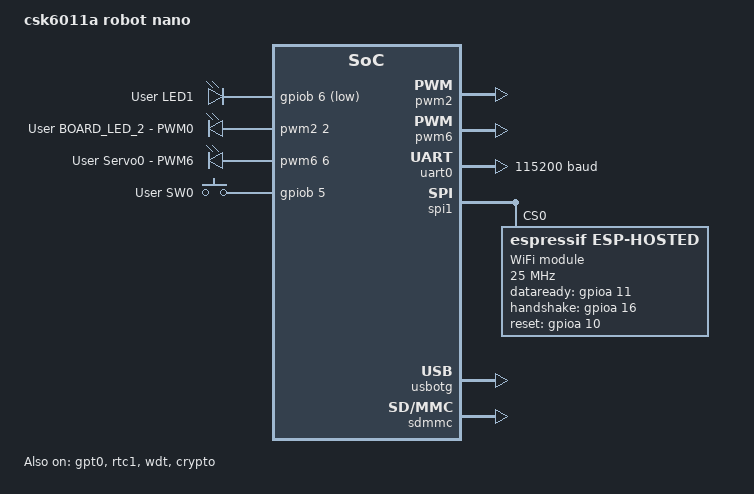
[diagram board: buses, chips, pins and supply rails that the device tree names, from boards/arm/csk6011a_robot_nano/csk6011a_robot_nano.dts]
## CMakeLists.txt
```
# SPDX-License-Identifier: Apache-2.0

cmake_minimum_required(VERSION 3.20.0)

# 指定使用app目录下的自定义boards
set(BOARD_ROOT ${CMAKE_CURRENT_LIST_DIR})

find_package(Zephyr REQUIRED HINTS $ENV{ZEPHYR_BASE})
project(app)

# 包含所有使用到的头文件路径
target_include_directories(app PRIVATE src)
target_include_directories(app PRIVATE src/app)
target_include_directories(app PRIVATE src/test)
target_include_directories(app PRIVATE src/common)
target_include_directories(app PRIVATE src/core)
target_include_directories(app PRIVATE src/driver)

# 包含所有使用到的源代码路径
aux_source_directory(./src/app DIR_APP_SRCS)
aux_source_directory(./src/test DIR_TEST_SRCS)
aux_source_directory(./src/common DIR_COMMON_SRCS)
aux_source_directory(./src/core DIR_CORE_SRCS)
aux_source_directory(./src/driver DIR_DRIVER_SRCS)

# 包含所有被编译的源代码文件
target_sources(app PRIVATE src/main.c 
                ${DIR_APP_SRCS} 
                ${DIR_TEST_SRCS} 
                ${DIR_COMMON_SRCS} 
                ${DIR_CORE_SRCS} 
                ${DIR_DRIVER_SRCS} 
                )
```

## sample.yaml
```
sample:
  name: Button Sample
tests:
  sample.basic.button:
    tags: button gpio
    filter: dt_enabled_alias_with_parent_compat("sw0", "gpio-keys")
    depends_on: gpio
    harness: button
```

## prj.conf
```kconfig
# 使能内核支持GPIO
CONFIG_GPIO=y

# 使能内核支持PWM
CONFIG_PWM=y

# Shell 组件配置
CONFIG_SHELL=y

# SYSTEM WORKQUEU线程栈
CONFIG_SYSTEM_WORKQUEUE_STACK_SIZE=2048
# 系统堆，分配内存，可根据实际使用配置
CONFIG_HEAP_MEM_POOL_SIZE=35840
CONFIG_MAIN_STACK_SIZE=4096
CONFIG_INIT_STACKS=y

# 启用flash
CONFIG_FLASH=y
CONFIG_FLASH_MAP=y
CONFIG_FLASH_PAGE_LAYOUT=y
# 启动文件系统
CONFIG_FILE_SYSTEM=y
CONFIG_FILE_SYSTEM_LITTLEFS=y

# 打开WiFi驱动配置
CONFIG_WIFI=y
CONFIG_CSK_WIFI_STATION=y
CONFIG_NET_L2_ETHERNET=y

# 网络线程栈配置
CONFIG_NET_RX_STACK_SIZE=1024
CONFIG_NET_TX_STACK_SIZE=2048
# 网络的内存池配置
CONFIG_NET_PKT_RX_COUNT=16
CONFIG_NET_PKT_TX_COUNT=16
CONFIG_NET_BUF_RX_COUNT=64
CONFIG_NET_BUF_TX_COUNT=64
CONFIG_NET_CONTEXT_NET_PKT_POOL=y

# 引用名为newlib的libc标准库
CONFIG_NEWLIB_LIBC=y

# 网络通信相关配置，由于网络功能暂时有问题，暂时关闭
CONFIG_NETWORKING=y
CONFIG_NET_DHCPV4=y
CONFIG_NET_IPV4=y
# CONFIG_NET_IPV6=y
CONFIG_NET_SOCKETS=y
CONFIG_TEST_RANDOM_GENERATOR=y
CONFIG_NET_SOCKETS_POSIX_NAMES=y
CONFIG_NET_CONFIG_SETTINGS=y
CONFIG_NET_TCP=y
# CONFIG_NET_CONFIG_MY_IPV4_ADDR="192.0.2.1"
# CONFIG_NET_CONFIG_PEER_IPV4_ADDR="192.0.2.2"
# CONFIG_NET_CONFIG_MY_IPV6_ADDR="2001:db8::1"
# CONFIG_NET_CONFIG_PEER_IPV6_ADDR="2001:db8::2"

# 网络管理配置
# CONFIG_NET_MGMT=y
# CONFIG_NET_MGMT_EVENT=y
# CONFIG_NET_MGMT_EVENT_STACK_SIZE=4096

# 打开LOG配置
# CONFIG_LOG=y
# CONFIG_WIFI_LOG_LEVEL_DBG=y
```

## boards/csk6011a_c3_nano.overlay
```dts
/*
 * Copyright (c) 2020 Circuit Dojo LLC
 *
 * SPDX-License-Identifier: Apache-2.0
 */

/delete-node/ &storage_partition;

/ {
	fstab {
		compatible = "zephyr,fstab";
		lfs1: lfs1 {
			compatible = "zephyr,fstab,littlefs";
			mount-point = "/lfs1";
			partition = <&storage_partition>;
			automount ;
			no-format;
			read-size = <16>;
			prog-size = <16>;
			cache-size = <64>;
			lookahead-size = <32>;
			block-cycles = <512>;
		};
	};

};

 
&flash0 {
	partitions {
		compatible = "fixed-partitions";
		#address-cells = <1>;
		#size-cells = <1>;

		/* storage: 1MB for storage */
		storage_partition: partition@700000 {
			label = "storage";
			reg = <0x700000 0x100000>;
		};

	};
};
```

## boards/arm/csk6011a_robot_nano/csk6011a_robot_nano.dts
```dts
/* SPDX-License-Identifier: Apache-2.0 */

/dts-v1/;
#include <csk/csk6011a.dtsi>
#include <dt-bindings/pwm/pwm.h>
#include <dt-bindings/gpio/gpio.h>
#include "csk6011a_robot_nano_pinctrl.dtsi"

/ {
        model = "csk6011a robot nano";
        compatible = "csk,csk6011a_robot_nano";
        aliases {
                led0 = &green_led;
                sw0 = &user_button_0;
                pwm-led0 = &green_pwm_led;
                pwm-servo0 = &nano_pwm_servo;
                i2c-0 = &i2c0;
                i2c-1 = &i2c1;
        };

        chosen {
                zephyr,console = &uart0;
                zephyr,shell-uart = &uart0;
                zephyr,sram = &sram0;
                zephyr,itcm = &itcm0;
                zephyr,dtcm = &dtcm0;
                zephyr,flash = &flash0;
                zephyr,flash_controller = &flash;
                zephyr,entropy = &trng;
                /* other chosen settings  for your hardware */
        };

        leds {
                compatible = "gpio-leds";
                green_led: led1 {
                        gpios = <&gpiob 6 GPIO_ACTIVE_LOW>;
                        label = "User LED1";
                };
        };

        pwmleds {
                compatible = "pwm-leds";
                green_pwm_led: green_pwm_led {
                        /* PWM LED will conflict with User LED1 since using the same gpio pin */
                        pwms = <&pwm2 2 PWM_MSEC(20) PWM_POLARITY_NORMAL>;
                        label = "User BOARD_LED_2 - PWM0";
                };

        };

        pwmservo0 {
                compatible = "pwm-leds";
                nano_pwm_servo: nano_pwm_servo {
                        pwms = <&pwm6 6 PWM_MSEC(20) PWM_POLARITY_NORMAL>;
                        label = "User Servo0 - PWM6";
                };

        };

        gpio_keys {
                compatible = "gpio-keys";
                user_button_0: button_0 {
                        label = "User SW0";
                        gpios = <&gpiob 5 0>;
                };
        };

        /*
         * Your board-specific hardware: buttons, LEDs, sensors, etc.
         */
};

&gpt0 {
        status = "okay";

        pwm2: pwm2 {
                clock-prescaler = <128>;
                status = "okay";
        };

        pwm6: pwm6 {
                clock-prescaler = <128>;
                status = "okay";
        };

};

&pwm2 {
        pinctrl-0 = <&pinctrl_pwm2_default>;
        pinctrl-names = "default";
        status = "okay";
};

&pwm6 {
        pinctrl-0 = <&pinctrl_pwm6_default>;
        pinctrl-names = "default";
        status = "okay";
};

&gpioa {
        status = "okay";
};

&gpiob {
        status = "okay";
};

&uart0 {
        pinctrl-0 = <&pinctrl_uart0_rx_default &pinctrl_uart0_tx_default>;
        pinctrl-names = "default";
        current-speed = <115200>;
        status = "okay";
};

&uart1 {
        status = "disabled";
};

&uart2 {
        status = "disabled";
};

&spi0 {
        status = "disabled";
};

&spi1 {
        pinctrl-0 = <&pinctrl_spi1_sclk_default &pinctrl_spi1_mosi_default &pinctrl_spi1_miso_default &pinctrl_spi1_cs_default>;
        pinctrl-names = "default";
        status = "okay";
	wifi_module: esp32c3@0 {
                compatible = "espressif,esp-hosted";
                label = "WiFi module";
		spi-max-frequency = <25000000>;
		reg = <0>;
                dataready-gpios = <&gpioa 11 0>;
                handshake-gpios = <&gpioa 16 0>;
                reset-gpios = <&gpioa 10 0>;
                status = "okay";
        };
};

&i2c0 {
        status = "disabled";
};

&i2c1 {
        status = "disabled";
};

&mailbox0 {
        status = "okay";
};

&dma0 {
        dma-channels = <6>;
        status = "okay";
};

&rtc1 {
        status = "okay";
};

&flash0 {
        /*
         * For more information, see:
         * http: //docs.zephyrproject.org/latest/guides/dts/index.html#flash-partitions
         */
        reg = <0x18000000 DT_SIZE_M(16)>;
        write-block-size = <4>;
        erase-block-size = <4096>;
        partitions {
                compatible = "fixed-partitions";
                #address-cells = <1>;
                #size-cells = <1>;

                /* wifi driver private storage: 8Kb */
                wifi_driver_storage: partition@6ee000 {
                        label = "wifi_driver_storage";
                        reg = <0x6ee000 0x2000>;
                };

                /* wifi_nvs_storage: 20Kb */
                wifi_nvs_storage: partition@6F0000 {
                        label = "wifi_nvs_storage";
                        reg = <0x6F0000 0x10000>;
                };

                /* storage: 6.625MB for storage */
                storage_partition: partition@700000 {
                        label = "storage";
                        reg = <0x700000 0x100000>;
                };


        };
};

&psram0 {
        reg = <0x30000000 DT_SIZE_M(8)>;
        #address-cells = <1>;
        #size-cells = <1>;

        /*psram for cp core slot: 6MB */
        psram_cp: psram_cp@30000000 {
                compatible = "listenai,csk6-psram-partition";
                reg = <0x30000000 0x600000>;
                status = "okay";
        };

        /*psram for ap core slot: 1MB */
        psram_ap: psram_ap@30600000 {
                compatible = "zephyr,memory-region",
                             "listenai,csk6-psram-partition";
                reg = <0x30600000 0x100000>;
                status = "okay";
                zephyr,memory-region = "PSRAMAP";
        };

        /*psram for ap share with cp slot: 512KB */
        psram_share: psram_share@30700000 {
                compatible = "listenai,csk6-psram-partition";
                reg = <0x30700000 0x80000>;
                status = "okay";
        };
};

zephyr_udc0: &usbotg {
        status = "okay";
        num-bidir-endpoints = <6>;
        num-in-endpoints = <6>;
        num-out-endpoints = <6>;
};

&wdt {
        status = "okay";
};

&adc0 {
        status = "disabled";
};

&crypto {
        status = "okay";
};

&sdmmc {
        status = "okay";
        bit-bus = <4>;
        pinctrl-0 = <
        &pinctrl_sdio_cmd_default
        &pinctrl_sdio_clk_default
        &pinctrl_sdio_dat0_default
        &pinctrl_sdio_dat1_default
        &pinctrl_sdio_dat2_default
        &pinctrl_sdio_dat3_default
        >;
        pinctrl-names = "default";
};
```

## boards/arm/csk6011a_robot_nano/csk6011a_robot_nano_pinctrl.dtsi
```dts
/* SPDX-License-Identifier: Apache-2.0 */
#include <csk/csk6_pinctrl.dtsi>

#define csk6011a_robot_nano_pinctrl pinctrl \
        __PINCTRL_DEPRECATED__("This node has been deprecated," \
                "please use 'pinctrl' instead of 'csk6011a_robot_nano_pinctrl")

&pinctrl{

        /* UART alternate function */
        pinctrl_uart0_rx_default: uart0_rx_default{
                pinctrls = <UART0_RXD_GPIOA_02>;
        };

        pinctrl_uart0_tx_default: uart0_tx_default{
                pinctrls = <UART0_TXD_GPIOA_03>;
        };

        /* I2C alternate function */
        pinctrl_i2c0_scl_default: i2c0_scl_default{
                pinctrls = <I2C0_SCL_GPIOB_00>;
        };

        pinctrl_i2c0_sda_default: i2c0_sda_default{
                pinctrls = <I2C0_SDA_GPIOB_01>;
        };
        /* SPIC alternate function */
        pinctrl_spi0_cs_default: spi0_cs_default{
                pinctrls = <SPI0_CS_N_GPIOA_20>;
        };

        pinctrl_spi0_miso_default: spi0_miso_default{
                pinctrls = <SPI0_MISO_GPIOA_17>;
        };

        pinctrl_spi0_mosi_default: spi0_mosi_default{
                pinctrls = <SPI0_MOSI_GPIOA_18>;
        };

        pinctrl_spi0_sclk_default: spi0_sclk_default{
                pinctrls = <SPI0_CLK_GPIOA_19>;
        };

        pinctrl_spi1_sclk_default: spi1_sclk_default{
                pinctrls = <SPI1_CLK_GPIOA_20>;
        };

        pinctrl_spi1_mosi_default: spi1_mosi_default{
                pinctrls = <SPI1_MOSI_GPIOA_19>;
        };

        pinctrl_spi1_miso_default: spi1_miso_default{
                pinctrls = <SPI1_MISO_GPIOA_18>;
        };

        pinctrl_spi1_cs_default: spi1_cs_default{
                pinctrls = <SPI1_CS_N_GPIOA_17>;
        };

        pinctrl_pwm2_default: pwm2_default{
                pinctrls = <GPT_PWM_2_GPIOB_06>;
        };

        pinctrl_pwm4_default: pwm4_default{
                pinctrls = <GPT_PWM_4_GPIOA_04>;
        };

        pinctrl_pwm5_default: pwm5_default{
                pinctrls = <GPT_PWM_5_GPIOA_05>;
        };

        pinctrl_pwm6_default: pwm6_default{
                pinctrls = <GPT_PWM_6_GPIOB_02>;
        };

};
```

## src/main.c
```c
/*
 * @Author: AIoTMaker kuili@iflytek.com
 * @Date: 2022-12-05 21:44:15
 * @LastEditors: AIoTMaker kuili@iflytek.com
 * @LastEditTime: 2022-12-06 10:52:18
 * @FilePath: \csk6_apps\src\main.c
 * @Description: 
 * 
 * Copyright (c) 2022 by AIoTMaker , All Rights Reserved. 
 */
/*
 * Copyright (c) 2012-2014 Wind River Systems, Inc.
 *
 * SPDX-License-Identifier: Apache-2.0
 */

#include <zephyr/zephyr.h>
#include <delay.h>
#include <user_test.h>

void main(void)
{
#if 0
    // 按键测试
    key_test();
    // 自定义shell命令测试
    shell_test();
    // flash读写测试
    flash_test();
    // wifi连接热点测试
    wifi_test();
    // udp服务端连接通信测试
    udp_test();
#endif
    // 日志测试
    log_test();
    // LED测试
    led_test();
    // 舵机测试
    servo_test();

    while(1){ delay_ms(100); }
}
```

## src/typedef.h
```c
#ifndef __TYPEDEF_H
#define __TYPEDEF_H

#include <stdint.h>

#ifndef __weak
#define __weak __attribute__((weak))
#endif

#endif
```
